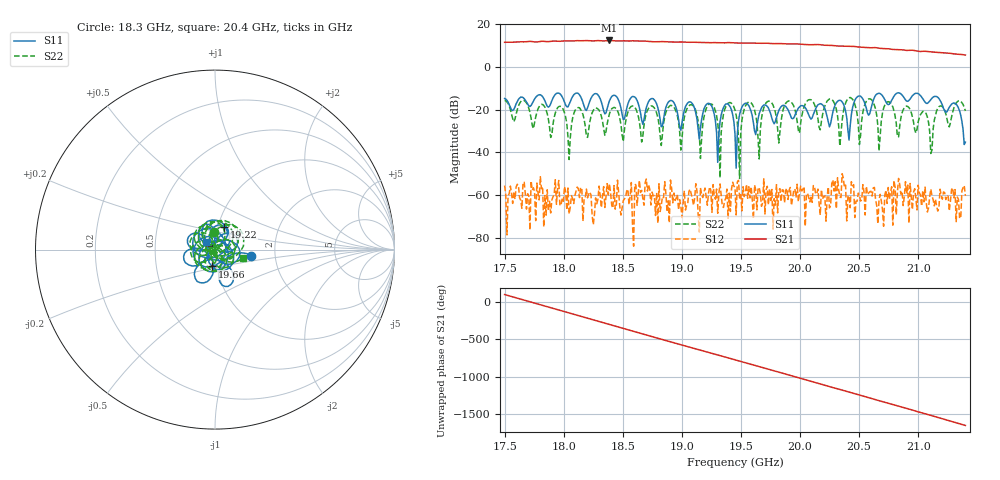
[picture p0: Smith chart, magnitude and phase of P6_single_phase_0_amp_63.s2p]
!Created with skrf (http://scikit-rf.org).
# GHz S RI R 50.0
!freq ReS11 ImS11 ReS21 ImS21 ReS12 ImS12 ReS22 ImS22
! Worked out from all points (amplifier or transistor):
!   401 points, 17.5 GHz to 21.4 GHz, reference 50 ohm
!   highest |S21| = 12.4 dB at 18.39 GHz (marker M1)
!   |S21| within 3 dB of that: start of sweep to 20.49 GHz
!   unconditionally stable (mu >= 1): start of sweep to end of sweep
!   at 18.14 GHz: K = 76.98, MAG = 12.4 dB, |S12| = -56.4 dB
!   at 19.45 GHz: K = 89.49, MAG = 11.3 dB, |S12| = -56.4 dB
!   at 21.4 GHz: K = 272.48, MAG = 5.6 dB, |S12| = -60.3 dB
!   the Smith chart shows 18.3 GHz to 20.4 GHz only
!   S11 on the Smith chart (normalised r, x): 18.3 GHz: 1.49, -0.11; 19.22 GHz: 1.07, +0.28; 19.66 GHz: 0.95, -0.18; 20.4 GHz: 0.90, +0.08
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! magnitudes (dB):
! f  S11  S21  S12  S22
! 17.5 GHz  -14.8  11.5  -55.5  -15.8
! 18.05 GHz  -17.6  12.1  -68.8  -43.3
! 18.15 GHz  -15.1  12.2  -56.7  -20.8
! 18.3 GHz  -13.8  12.3  -55.8  -20.2
! 18.39 GHz  -15.9  12.4  -54.7  -22.0
! 18.81 GHz  -21.3  11.8  -54.7  -26.7
! 19.08 GHz  -16.6  11.5  -59.5  -17.7
! 19.16 GHz  -28.6  11.4  -56.5  -42.8
! 19.22 GHz  -17.2  11.3  -64.7  -18.4
! 19.32 GHz  -25.7  11.3  -54.7  -51.9
! 19.39 GHz  -17.4  11.4  -70.8  -17.0
! 19.45 GHz  -31.4  11.2  -56.4  -20.2
! 19.66 GHz  -20.4  11.0  -59.2  -29.2
! 19.72 GHz  -18.5  11.1  -55.8  -16.3
! 19.82 GHz  -20.5  10.9  -57.6  -35.6
! 20.1 GHz  -23.8  10.4  -63.4  -15.8
! 20.34 GHz  -15.6  9.7  -60.8  -37.0
! 20.4 GHz  -23.7  9.7  -72.1  -15.7
! 20.67 GHz  -12.3  8.7  -62.5  -39.3
! 20.76 GHz  -17.4  8.4  -61.9  -16.4
! 21.11 GHz  -15.3  7.0  -57.2  -40.5
! 21.4 GHz  -35.2  5.5  -60.3  -20.6
